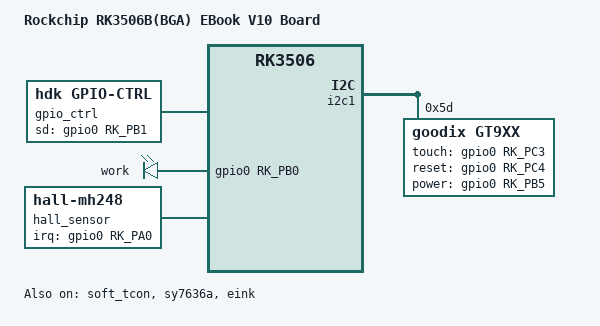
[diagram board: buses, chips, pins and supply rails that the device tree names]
// SPDX-License-Identifier: (GPL-2.0+ OR MIT)
/*
 * Copyright (c) 2024 Rockchip Electronics Co., Ltd.
 */

/dts-v1/;

#include "rk3506.dtsi"
#include "rk3506-ebook-v10.dtsi"

/ {
	model = "Rockchip RK3506B(BGA) EBook V10 Board";
	compatible = "rockchip,rk3506b-ebook-v10", "rockchip,rk3506";

	chosen {
		bootargs = "earlycon=uart8250,mmio32,0xff0a0000 console=ttyFIQ0 root=PARTUUID=614e0000-0000 rw rootwait";
	};

	gpio_ctrl: gpio-ctrl {
		compatible = "hdk,gpio-ctrl";
		status = "okay";
		pinctrl-names = "default";
		pinctrl-0 = <&gpio_ctrl_gpios>;
		//tp_gpio = <&gpio0 RK_PB5 GPIO_ACTIVE_HIGH>;
		sd_gpio = <&gpio0 RK_PB1 GPIO_ACTIVE_HIGH>;
		//rp_not_deep_leep = <1>;
	};

	gpio_leds: gpio-leds {
		compatible = "gpio-leds";
		pinctrl-names = "default";
		pinctrl-0 = <&gpio_led>;
		status = "okay";
		work {
			gpios = <&gpio0 RK_PB0 GPIO_ACTIVE_HIGH>;
			label = "work";
			default-state = "off";
		};
	};

	hall_sensor: hall-mh248 {
		compatible = "hall-mh248";
		pinctrl-names = "default";
		pinctrl-0 = <&mh248_irq_gpio>;
		irq-gpio = <&gpio0 RK_PA0 IRQ_TYPE_EDGE_BOTH>;
		hall-active = <1>;
		status = "okay";
	};
};

&soft_tcon {
	pinctrl-0 = <&mcu_rgb8bit_pins>;
	status = "okay";
};

&sy7636a {
	status = "okay";
	enable-gpios = <&gpio1 RK_PA0 GPIO_ACTIVE_HIGH>;
	pgood-gpio = <&gpio1 RK_PA3 GPIO_ACTIVE_LOW>;
};

&cma {
	size = <0x2000000>;
};

&eink {
	status = "okay";
	tcon = <&soft_tcon>;
	pmic = <&sy7636a>;
	backlight = <&backlight>;

	panel,width = <1024>;
	panel,height = <758>;
	panel,vir_width = <1024>;
	panel,vir_height = <758>;
	panel,sdck = <20000000>;
	panel,lsl = <6>;
	panel,lbl = <6>;
	panel,ldl = <256>;
	panel,lel = <38>;
	panel,gdck-sta = <4>;
	panel,lgonl = <262>;
	panel,fsl = <2>;
	panel,fbl = <4>;
	panel,fdl = <758>;
	panel,fel = <5>;
	panel,mirror = <0>;
	panel,vcom-mv = <1850>;
	panel,panel_16bit = <0>;
	panel,panel_color = <0>;
	panel,width-mm = <101>;
	panel,height-mm = <138>;
};

&i2c1 {
	pinctrl-names = "default";
	pinctrl-0 = <&rm_io14_i2c1_scl &rm_io15_i2c1_sda>;
	status = "okay";

	gt9xx: gt9xx@5d {
		compatible = "goodix,gt9xx";
		reg = <0x5d>;
		touch-gpio = <&gpio0 RK_PC3 IRQ_TYPE_LEVEL_LOW>;
		reset-gpio = <&gpio0 RK_PC4 GPIO_ACTIVE_HIGH>;
		power-gpio = <&gpio0 RK_PB5 GPIO_ACTIVE_HIGH>;
		max-x = <1024>;
		max-y = <756>;
		//configfile-num = <1>;
		status = "okay";
		tp-size = <911>;
		//tp-supply = <&vcc_3v3_tpemr_en>;
		pinctrl-names = "default";
		pinctrl-0 = <&gt9xx_tp>;
	};
};

&audio_codec {
	status = "disabled";
};

&pinctrl {
	sy7636a {
		sy7636a_default: sy7636a_default {
			rockchip,pins =
				<1 RK_PA0 RK_FUNC_GPIO &pcfg_pull_none>,
				<1 RK_PA3 RK_FUNC_GPIO &pcfg_pull_none>;
		};
	};
	gt9xx_touch{
		gt9xx_tp: gt9xx-tp {
			rockchip,pins =
				<0 RK_PB5 RK_FUNC_GPIO &pcfg_pull_none>,
				<0 RK_PC3 RK_FUNC_GPIO &pcfg_pull_up>,
				<0 RK_PC4 RK_FUNC_GPIO &pcfg_pull_none>;
		};
	};
	gpio-leds {
		gpio_led: gpio-led {
			rockchip,pins = <0 RK_PB0 RK_FUNC_GPIO &pcfg_pull_none>;
		};
	};
	gpios_nas {
		gpio_ctrl_gpios: gpio-ctrl-gpios{
			rockchip,pins = <0 RK_PB1 RK_FUNC_GPIO &pcfg_pull_up>;
		};
	};
	hall {
		mh248_irq_gpio: mh248-irq-gpio {
			rockchip,pins = <0 RK_PA0 RK_FUNC_GPIO &pcfg_pull_up>;
		};
	};
};
